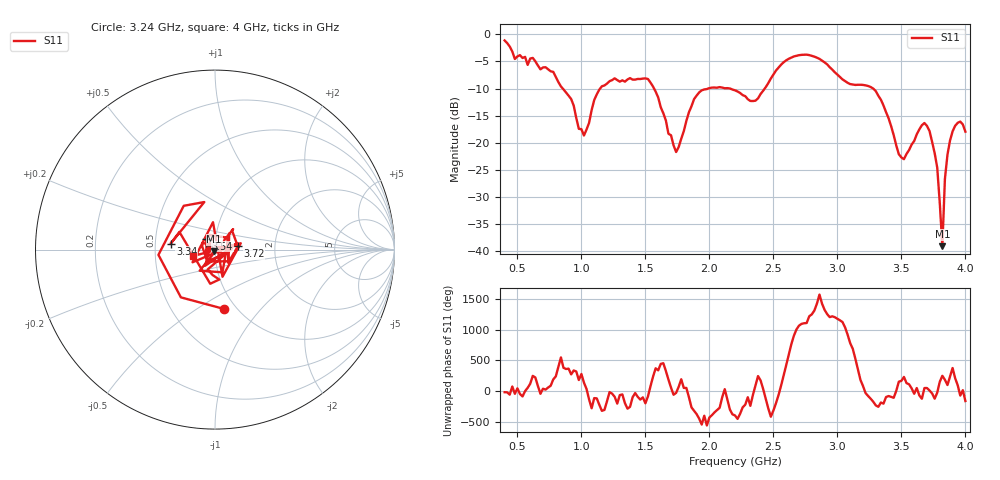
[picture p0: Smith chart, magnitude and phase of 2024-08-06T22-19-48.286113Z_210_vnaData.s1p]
!Created with skrf (http://scikit-rf.org).
# Hz S RI R 50.0
!freq ReS11 ImS11
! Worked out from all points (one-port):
!   181 points, 400 MHz to 4 GHz, reference 50 ohm
!   lowest |S11| = -39.0 dB at 3.82 GHz (marker M1), VSWR 1.02, Z = 49.6 - j1.03 ohm
!   |S11| at or under -10 dB: 854.8 MHz to 1.146 GHz (291.1 MHz wide, 29.1 % of centre); 1.568 GHz to 1.989 GHz (421.1 MHz wide, 23.7 % of centre); 3.28 GHz to end of sweep (the widest 3 of 4)
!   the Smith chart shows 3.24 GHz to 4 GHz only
!   S11 on the Smith chart (normalised r, x): 3.24 GHz: 0.88, -0.65; 3.34 GHz: 0.60, +0.04; 3.54 GHz: 0.90, +0.11; 3.72 GHz: 1.29, +0.05; 4 GHz: 0.78, -0.06
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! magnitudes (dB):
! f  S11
! 400 MHz  -1.1
! 480 MHz  -4.5
! 860 MHz  -10.1
! 1.02 GHz  -18.6
! 1.14 GHz  -10.2
! 1.3 GHz  -8.7
! 1.52 GHz  -8.2
! 1.74 GHz  -21.7
! 1.76 GHz  -20.8
! 1.92 GHz  -10.7
! 2.2 GHz  -10.3
! 2.36 GHz  -12.2
! 2.66 GHz  -4.1
! 2.86 GHz  -4.5
! 3.1 GHz  -9.2
! 3.24 GHz  -9.5
! 3.34 GHz  -12.1
! 3.48 GHz  -22.1
! 3.54 GHz  -22.0
! 3.56 GHz  -21.3
! 3.66 GHz  -16.7
! 3.72 GHz  -17.8
! 3.78 GHz  -24.6
! 3.82 GHz  -39.0
! 3.84 GHz  -26.6
! 3.88 GHz  -19.6
! 3.94 GHz  -16.3
! 4 GHz  -17.9
